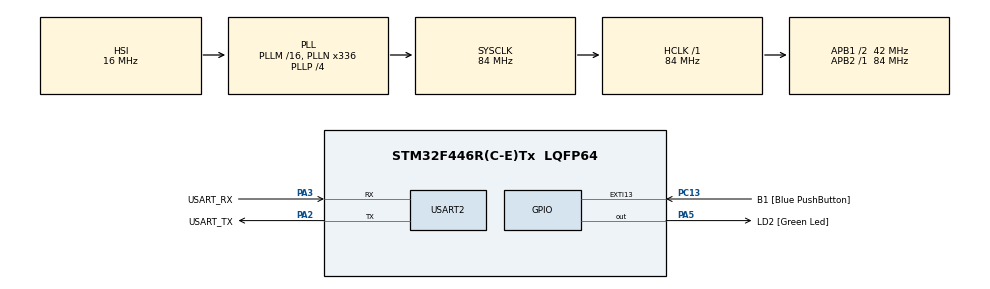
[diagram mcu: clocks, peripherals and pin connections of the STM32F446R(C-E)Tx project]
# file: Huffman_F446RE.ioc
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Mcu.Family=STM32F4
Mcu.Name=STM32F446R(C-E)Tx
Mcu.Package=LQFP64
NVIC.PriorityGroup=NVIC_PRIORITYGROUP_0
PA13.GPIO_Label=TMS
PA13.Mode=Serial_Wire
PA13.Signal=SYS_JTMS-SWDIO
PA14.GPIO_Label=TCK
PA14.Mode=Serial_Wire
PA14.Signal=SYS_JTCK-SWCLK
PA2.GPIO_Label=USART_TX
PA2.Mode=Asynchronous
PA2.Signal=USART2_TX
PA3.GPIO_Label=USART_RX
PA3.Mode=Asynchronous
PA3.Signal=USART2_RX
PA5.GPIO_Label=LD2 [Green Led]
PA5.Signal=GPIO_Output
PB3.GPIO_Label=SWO
PB3.Signal=SYS_JTDO-SWO
PC13.GPIO_Label=B1 [Blue PushButton]
PC13.GPIO_ModeDefaultEXTI=GPIO_MODE_IT_FALLING
PC13.Signal=GPXTI13
PC14-OSC32_IN.Mode=LSE-External-Oscillator
PC14-OSC32_IN.Signal=RCC_OSC32_IN
PC15-OSC32_OUT.Mode=LSE-External-Oscillator
PC15-OSC32_OUT.Signal=RCC_OSC32_OUT
PH0-OSC_IN.Mode=HSE-External-Oscillator
PH0-OSC_IN.Signal=RCC_OSC_IN
PH1-OSC_OUT.Mode=HSE-External-Oscillator
PH1-OSC_OUT.Signal=RCC_OSC_OUT
ProjectManager.HeapSize=0x200
ProjectManager.StackSize=0x400
ProjectManager.TargetToolchain=STM32CubeIDE
RCC.48MHZClocksFreq_Value=84000000
RCC.AHBFreq_Value=84000000
RCC.APB1CLKDivider=RCC_HCLK_DIV2
RCC.APB1Freq_Value=42000000
RCC.APB1TimFreq_Value=84000000
RCC.APB2Freq_Value=84000000
RCC.APB2TimFreq_Value=84000000
RCC.CortexFreq_Value=84000000
RCC.FLatency-AdvancedSettings=FLASH_LATENCY_2
RCC.HCLKFreq_Value=84000000
RCC.HSE_VALUE=8000000
RCC.HSI_VALUE=16000000
RCC.PLLN=336
RCC.PLLP=RCC_PLLP_DIV4
RCC.SYSCLKFreq_VALUE=84000000
RCC.SYSCLKSource=RCC_SYSCLKSOURCE_PLLCLK
RCC.USBFreq_Value=168000000
RCC.VCOOutputFreq_Value=336000000
USART2.VirtualMode=VM_ASYNC
board=NUCLEO-F446RE

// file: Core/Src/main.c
  /*============================== ESET 2019-2020 ================================
**File Name   :  main.c                                                         **
**Author      :  Benoit GIRAUD                                                  **
**Created on  :  Mars, 2020                                                     **
**------------------------------------------------------------------------------**
**Description : main of Huffman_F446RE Project                                  **
================================================================================*/

  /*=============================================================================
  **                               Includes                                     **
  ==============================================================================*/
#include "main.h"
#include "stm32f4xx_hal.h"

UART_HandleTypeDef huart2; //UART

/*===============================================================================
**                            Prototype                                        **
===============================================================================*/
void SystemClock_Config(void);
static void MX_GPIO_Init(void);
static void MX_USART2_UART_Init(void);

int __io_putchar(int ch){
	HAL_UART_Transmit(&huart2, &ch, 1, 1000); //Printf sur UART2
}

/*==============================================================================
**                           Global Variables                                 **
==============================================================================*/
uint8_t  texte[]="aaaabbbccd";  // Une banane //aaaabbbccd

uint8_t tabCaractere[MAX_ARRAY]={0};
uint16_t nbrCaractereTotal=0;
uint8_t nbrCaractereDifferent=0;

noeud *arbreHuffman[MAX_ARRAY];
noeud *racine; //Unique ref a la racine de l'arbre

uint16_t entete[100]={0};
uint16_t texteCompress[TAILLE]={0};

int main(void)
{
  HAL_Init();
  SystemClock_Config();
  MX_GPIO_Init();
  MX_USART2_UART_Init();

  /* USER CODE BEGIN 3 */
	printf("--------- Projet Huffman F446RE ---------\r\n\r\n");
	printf("\r\nSTART\r\n\r\n");
//______ Calcul occurrences ______
	nbrCaractereTotal= occurence(texte, tabCaractere);
	nbrCaractereDifferent= compterNombreCaracteresDifferents(tabCaractere);
	afficherTabCaractere(tabCaractere);
//______ Creation feuilles ______
	creerFeuille(arbreHuffman,tabCaractere);
	afficherTableauArbreHuffman(arbreHuffman);
//___Tri de l'arbre ______
	triArbreHuffman(arbreHuffman, nbrCaractereDifferent-1);
	afficherArbreHuffman(arbreHuffman);
//______ Construction de l'arbre binaire ______
	constructionArbreBinaire(arbreHuffman, nbrCaractereDifferent-1);
	afficherRacineArbre(arbreHuffman[0]); //AFFICHE RACINE
	racine = arbreHuffman[0];
	afficherFeuilles (racine);
//______ Creation d'un code Huffman pour chaque carac ______
	creerCode(racine, 0, 0);

/*
//______ Compression du texte ______
	int16_t tailleC = compresssionTexte( texte, racine, texteCompress);
//______ Creation entete ______
	creationEntete(entete, tailleC, nbrCaractereTotal, tabCaractere, racine);
	afficherEntete(entete);
	afficherTexteCompresse(texteCompress, tailleC);
*/

	printf("\r\nEND\r\n");

  while (1)
  {

  }
  /* USER CODE END 3 */
}

void SystemClock_Config(void)
{
  RCC_OscInitTypeDef RCC_OscInitStruct = {0};
  RCC_ClkInitTypeDef RCC_ClkInitStruct = {0};

  /** Configure the main internal regulator output voltage
  */
  __HAL_RCC_PWR_CLK_ENABLE();
  __HAL_PWR_VOLTAGESCALING_CONFIG(PWR_REGULATOR_VOLTAGE_SCALE3);
  /** Initializes the RCC Oscillators according to the specified parameters
  * in the RCC_OscInitTypeDef structure.
  */
  RCC_OscInitStruct.OscillatorType = RCC_OSCILLATORTYPE_HSI;
  RCC_OscInitStruct.HSIState = RCC_HSI_ON;
  RCC_OscInitStruct.HSICalibrationValue = RCC_HSICALIBRATION_DEFAULT;
  RCC_OscInitStruct.PLL.PLLState = RCC_PLL_ON;
  RCC_OscInitStruct.PLL.PLLSource = RCC_PLLSOURCE_HSI;
  RCC_OscInitStruct.PLL.PLLM = 16;
  RCC_OscInitStruct.PLL.PLLN = 336;
  RCC_OscInitStruct.PLL.PLLP = RCC_PLLP_DIV4;
  RCC_OscInitStruct.PLL.PLLQ = 2;
  RCC_OscInitStruct.PLL.PLLR = 2;
  if (HAL_RCC_OscConfig(&RCC_OscInitStruct) != HAL_OK)
  {
    Error_Handler();
  }
  /** Initializes the CPU, AHB and APB buses clocks
  */
  RCC_ClkInitStruct.ClockType = RCC_CLOCKTYPE_HCLK|RCC_CLOCKTYPE_SYSCLK
                              |RCC_CLOCKTYPE_PCLK1|RCC_CLOCKTYPE_PCLK2;
  RCC_ClkInitStruct.SYSCLKSource = RCC_SYSCLKSOURCE_PLLCLK;
  RCC_ClkInitStruct.AHBCLKDivider = RCC_SYSCLK_DIV1;
  RCC_ClkInitStruct.APB1CLKDivider = RCC_HCLK_DIV2;
  RCC_ClkInitStruct.APB2CLKDivider = RCC_HCLK_DIV1;

  if (HAL_RCC_ClockConfig(&RCC_ClkInitStruct, FLASH_LATENCY_2) != HAL_OK)
  {
    Error_Handler();
  }
}

static void MX_USART2_UART_Init(void)
{

  huart2.Instance = USART2;
  huart2.Init.BaudRate = 115200;
  huart2.Init.WordLength = UART_WORDLENGTH_8B;
  huart2.Init.StopBits = UART_STOPBITS_1;
  huart2.Init.Parity = UART_PARITY_NONE;
  huart2.Init.Mode = UART_MODE_TX_RX;
  huart2.Init.HwFlowCtl = UART_HWCONTROL_NONE;
  huart2.Init.OverSampling = UART_OVERSAMPLING_16;
  if (HAL_UART_Init(&huart2) != HAL_OK)
  {
    Error_Handler();
  }

}

static void MX_GPIO_Init(void)
{
  GPIO_InitTypeDef GPIO_InitStruct = {0};

  /* GPIO Ports Clock Enable */
  __HAL_RCC_GPIOC_CLK_ENABLE();
  __HAL_RCC_GPIOH_CLK_ENABLE();
  __HAL_RCC_GPIOA_CLK_ENABLE();
  __HAL_RCC_GPIOB_CLK_ENABLE();

  /*Configure GPIO pin Output Level */
  HAL_GPIO_WritePin(LD2_GPIO_Port, LD2_Pin, GPIO_PIN_RESET);

  /*Configure GPIO pin : B1_Pin */
  GPIO_InitStruct.Pin = B1_Pin;
  GPIO_InitStruct.Mode = GPIO_MODE_IT_FALLING;
  GPIO_InitStruct.Pull = GPIO_NOPULL;
  HAL_GPIO_Init(B1_GPIO_Port, &GPIO_InitStruct);

  /*Configure GPIO pin : LD2_Pin */
  GPIO_InitStruct.Pin = LD2_Pin;
  GPIO_InitStruct.Mode = GPIO_MODE_OUTPUT_PP;
  GPIO_InitStruct.Pull = GPIO_NOPULL;
  GPIO_InitStruct.Speed = GPIO_SPEED_FREQ_LOW;
  HAL_GPIO_Init(LD2_GPIO_Port, &GPIO_InitStruct);

}

void Error_Handler(void)
{
}

/************************ (C) COPYRIGHT STMicroelectronics *****END OF FILE****/
